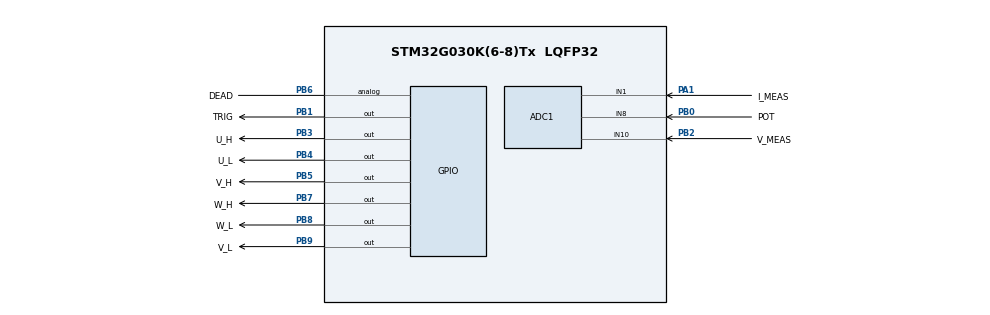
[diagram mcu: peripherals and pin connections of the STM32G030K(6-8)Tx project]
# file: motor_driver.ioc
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ADC1.ContinuousConvMode=DISABLE
ADC1.NbrOfConversion=1
ADC1.NbrOfConversionFlag=0
ADC1.SelectedChannel=ADC_CHANNEL_1|ADC_CHANNEL_8|ADC_CHANNEL_10
ADC1.Sequencer=NOT_FULLY_CONFIGURABLE
ADC1.master=1
Mcu.Family=STM32G0
Mcu.Name=STM32G030K(6-8)Tx
Mcu.Package=LQFP32
NVIC.TIM1_BRK_UP_TRG_COM_IRQn=true\:0\:0\:false\:false\:true\:true\:true\:true
PA1.GPIO_Label=I_MEAS
PA1.Mode=IN1
PA1.Signal=ADC1_IN1
PA13.Mode=Serial_Wire
PA13.Signal=SYS_SWDIO
PA14-BOOT0.Mode=Serial_Wire
PA14-BOOT0.Signal=SYS_SWCLK
PB0.GPIO_Label=POT
PB0.Mode=IN8
PB0.Signal=ADC1_IN8
PB1.GPIO_Label=TRIG
PB1.Signal=GPIO_Output
PB2.GPIO_Label=V_MEAS
PB2.Mode=IN10
PB2.Signal=ADC1_IN10
PB3.GPIO_Label=U_H
PB3.Signal=GPIO_Output
PB4.GPIO_Label=U_L
PB4.PinState=GPIO_PIN_SET
PB4.Signal=GPIO_Output
PB5.GPIO_Label=V_H
PB5.Signal=GPIO_Output
PB6.GPIO_Label=DEAD
PB6.Signal=GPIO_Analog
PB7.GPIO_Label=W_H
PB7.Signal=GPIO_Output
PB8.GPIO_FM8=__NULL
PB8.GPIO_Label=W_L
PB8.PinState=GPIO_PIN_SET
PB8.Signal=GPIO_Output
PB9.GPIO_Label=V_L
PB9.Signal=GPIO_Output
ProjectManager.HeapSize=0x200
ProjectManager.StackSize=0x400
ProjectManager.TargetToolchain=STM32CubeIDE
RCC.ADCFreq_Value=64000000
RCC.AHBFreq_Value=64000000
RCC.CortexFreq_Value=64000000
RCC.EXTERNAL_CLOCK_VALUE=12288000
RCC.HCLKFreq_Value=64000000
RCC.HSE_VALUE=8000000
RCC.HSI_VALUE=16000000
RCC.LSE_VALUE=32768
RCC.SYSCLKFreq_VALUE=64000000
RCC.SYSCLKSource=RCC_SYSCLKSOURCE_PLLCLK
RCC.VCOOutputFreq_Value=128000000
TIM1.AutoReloadPreload=TIM_AUTORELOAD_PRELOAD_ENABLE
TIM1.CounterMode=TIM_COUNTERMODE_DOWN
TIM1.Period=640
VP_TIM1_VS_ClockSourceINT.Mode=Internal
board=custom

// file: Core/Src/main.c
/* USER CODE BEGIN Header */
/**
  ******************************************************************************
  * @file           : main.c
  * @brief          : Main program body
  ******************************************************************************
  * @attention
  *
  * Copyright (c) 2023 STMicroelectronics.
  * All rights reserved.
  *
  * This software is licensed under terms that can be found in the LICENSE file
  * in the root directory of this software component.
  * If no LICENSE file comes with this software, it is provided AS-IS.
  *
  ******************************************************************************
  */
/* USER CODE END Header */
#include "main.h"

/* USER CODE BEGIN Includes */
#include "pwm_tables.h"
/* USER CODE END Includes */

/* USER CODE BEGIN PTD */

typedef struct ADC_meas_s{
	uint32_t current;
	uint32_t pot;
	uint32_t voltage;
} ADC_meas_t;

/* USER CODE END PTD */

/* USER CODE BEGIN PD */

//volatile uint8_t LED_STATE = 0;

const uint32_t CLK_FREQ = 64000000;
//const uint32_t MAX_I_SHTDWN = 1500; /* in mA */
const uint32_t MAX_I_SHTDWN = 3500; /* in mA */
const uint32_t F_MAX = 200; /* in Hz */
const uint32_t F_MIN = 2;
const int32_t DELTA_F_UP = 5; // units of 2^16/65507 (almost 1) Hz/s
const int32_t DELTA_F_DN = -10;
const uint32_t PERIOD_FULL = UINT32_MAX;
const uint32_t PERIOD_ONE_THIRD = PERIOD_FULL / 3;
const uint32_t PERIOD_TWO_THIRD = PERIOD_FULL / 3 * 2;

#define TIM_DIV 977
const uint32_t TIM_TRIG_FREQ = CLK_FREQ / TIM_DIV; // approx 65507 Hz, input 2^16 step for 1 Hz

const uint32_t U_NOM = 195; // HACK
const uint32_t F_NOM = 310;

// 191156419 = sqrt(2) (peak) * 4096 (ADC) * 3300 (R2) * 10 (VDD=34/10)
const uint32_t VF_MAGIC_NUMBER = 589303; //191156419 << 16 * U_NOM / (F_NOM * 34 * 393300);

/* USER CODE END PD */

/* USER CODE BEGIN PV */

ADC_meas_t adc_meas;

/* this is a NCO
 * word structure:
 * [31][30 - 20][19 - 0]
 *  │      │        └ remainder
 *  │      └ pointer to the element in LUT
 *  └ Sign determines if wave is currently in positive or negative half
 */
uint32_t phase_accumulator;

volatile uint32_t f_target; // in (2^-16) Hz
volatile uint32_t vf_coef;

uint8_t *p_current_table;
uint16_t current_gear;

uint32_t i_offset = 0;

uint32_t i_meas;

/* USER CODE END PV */

void SystemClock_Config(void);
static void MX_GPIO_Init(void);
static void MX_TIM1_Init(void);
static void MX_ADC1_Init(void);
/* USER CODE BEGIN PFP */

void switch_table(int8_t change);
void increment_accumulator(void);
void motor_disconnect(void);
uint32_t min(uint32_t x, uint32_t y);

/* USER CODE END PFP */

int main(void)
{

  /* MCU Configuration--------------------------------------------------------*/

  /* Reset of all peripherals, Initializes the Flash interface and the Systick. */
  LL_APB2_GRP1_EnableClock(LL_APB2_GRP1_PERIPH_SYSCFG);
  LL_APB1_GRP1_EnableClock(LL_APB1_GRP1_PERIPH_PWR);

  /* SysTick_IRQn interrupt configuration */
  NVIC_SetPriority(SysTick_IRQn, 3);

  /* Configure the system clock */
  SystemClock_Config();

  /* Initialize all configured peripherals */
  MX_GPIO_Init();
  MX_TIM1_Init();
  MX_ADC1_Init();
  /* USER CODE BEGIN 2 */

  LL_GPIO_WriteOutputPort(GPIOB, (1 << 8) | (1 << 6) | (1 << 4) );

  volatile uint32_t count = CLK_FREQ / 5;
  while(count--)
  {
	  __NOP();
  }

  /*read current*/
  LL_ADC_ClearFlag_CCRDY(ADC1);
  LL_ADC_ClearFlag_EOC(ADC1);
  ADC1->CHSELR = (1 << 1);
  while(LL_ADC_IsActiveFlag_CCRDY(ADC1) == 0);
  LL_ADC_ClearFlag_CCRDY(ADC1);
  LL_ADC_Enable(ADC1);
  while(LL_ADC_IsActiveFlag_ADRDY(ADC1) == 0);
  LL_ADC_ClearFlag_ADRDY(ADC1);
  LL_ADC_REG_StartConversion(ADC1);
  while(LL_ADC_IsActiveFlag_EOC(ADC1) == 0);
  LL_ADC_ClearFlag_EOC(ADC1);
  LL_ADC_Disable(ADC1);
  adc_meas.current = LL_ADC_REG_ReadConversionData12(ADC1);

  /*read voltage*/
  ADC1->CHSELR = (1 << 10);
  while(LL_ADC_IsActiveFlag_CCRDY(ADC1) == 0);
  LL_ADC_ClearFlag_CCRDY(ADC1);
  LL_ADC_Enable(ADC1);
  while(LL_ADC_IsActiveFlag_ADRDY(ADC1) == 0);
  LL_ADC_ClearFlag_ADRDY(ADC1);
  LL_ADC_REG_StartConversion(ADC1);
  while(LL_ADC_IsActiveFlag_EOC(ADC1) == 0);
  LL_ADC_ClearFlag_EOC(ADC1);
  LL_ADC_Disable(ADC1);
  adc_meas.voltage = LL_ADC_REG_ReadConversionData12(ADC1);

  LL_TIM_EnableIT_UPDATE(TIM1);
  LL_TIM_EnableCounter(TIM1);

  /* USER CODE END 2 */

  /* Infinite loop */
  /* USER CODE BEGIN WHILE */
  while (1)
  {
		/* convert ADC values
		 *
		 * V_meas = ( Vref * ADC_data / ADC_resolution) * ( (R2 + R1) / R2 )
		 * I_meas = Uref * ADC_data / ( ADC_resolution * R_shunt * A_opamp)
		 */

		/*read current*/
		ADC1->CHSELR = (1 << 1);
		while(LL_ADC_IsActiveFlag_CCRDY(ADC1) == 0);
		LL_ADC_ClearFlag_CCRDY(ADC1);
		LL_ADC_Enable(ADC1);
		while(LL_ADC_IsActiveFlag_ADRDY(ADC1) == 0);
		LL_ADC_ClearFlag_ADRDY(ADC1);
		LL_ADC_REG_StartConversion(ADC1);
		while(LL_ADC_IsActiveFlag_EOC(ADC1) == 0);
		LL_ADC_ClearFlag_EOC(ADC1);
		LL_ADC_Disable(ADC1);
		adc_meas.current = LL_ADC_REG_ReadConversionData12(ADC1);

		i_meas = ((3300 / 22 * 20) * adc_meas.current) / (1<<12); /* in mA */
		/*check if current is too high */
		if(i_meas > MAX_I_SHTDWN)
		{
			Error_Handler();
		}

		/*read pot*/
		ADC1->CHSELR = (1 << 8);
		while(LL_ADC_IsActiveFlag_CCRDY(ADC1) == 0);
		LL_ADC_ClearFlag_CCRDY(ADC1);
		LL_ADC_Enable(ADC1);
		while(LL_ADC_IsActiveFlag_ADRDY(ADC1) == 0);
		LL_ADC_ClearFlag_ADRDY(ADC1);
		LL_ADC_REG_StartConversion(ADC1);
		while(LL_ADC_IsActiveFlag_EOC(ADC1) == 0);
		LL_ADC_ClearFlag_EOC(ADC1);
		LL_ADC_Disable(ADC1);
		adc_meas.pot = LL_ADC_REG_ReadConversionData12(ADC1);

		/* calculate target frequency */
		f_target = adc_meas.pot * F_MAX * (1 << 4); // adc goes to 12 bits, 1 Hz is 16 bits
		if(f_target < (F_MIN * (1 << 16))) {
			f_target = F_MIN * (1 << 16);
		}

		/*read voltage*/
		ADC1->CHSELR = (1 << 10);
		while(LL_ADC_IsActiveFlag_CCRDY(ADC1) == 0);
		LL_ADC_ClearFlag_CCRDY(ADC1);
		LL_ADC_Enable(ADC1);
		while(LL_ADC_IsActiveFlag_ADRDY(ADC1) == 0);
		LL_ADC_ClearFlag_ADRDY(ADC1);
		LL_ADC_REG_StartConversion(ADC1);
		while(LL_ADC_IsActiveFlag_EOC(ADC1) == 0);
		LL_ADC_ClearFlag_EOC(ADC1);
		LL_ADC_Disable(ADC1);
		adc_meas.voltage = LL_ADC_REG_ReadConversionData12(ADC1);

		// calculate the V/f coefficient so the ISR can determine the voltage
//		vf_coef = VF_MAGIC_NUMBER / adc_meas.voltage; // TODO
//		vf_coef = 179; // multiplied by 256
		vf_coef = 728; // for 30 V DC bus

//		v_meas = 3300 * adc_meas.voltage * (39120 + 336) / 336 / (1<<12); /* in mV */
		/* USER CODE END WHILE */

  }
}

void SystemClock_Config(void)
{
  LL_FLASH_SetLatency(LL_FLASH_LATENCY_2);
  while(LL_FLASH_GetLatency() != LL_FLASH_LATENCY_2)
  {
  }

  /* HSI configuration and activation */
  LL_RCC_HSI_Enable();
  while(LL_RCC_HSI_IsReady() != 1)
  {
  }

  /* Main PLL configuration and activation */
  LL_RCC_PLL_ConfigDomain_SYS(LL_RCC_PLLSOURCE_HSI, LL_RCC_PLLM_DIV_1, 8, LL_RCC_PLLR_DIV_2);
  LL_RCC_PLL_Enable();
  LL_RCC_PLL_EnableDomain_SYS();
  while(LL_RCC_PLL_IsReady() != 1)
  {
  }

  /* Set AHB prescaler*/
  LL_RCC_SetAHBPrescaler(LL_RCC_SYSCLK_DIV_1);

  /* Sysclk activation on the main PLL */
  LL_RCC_SetSysClkSource(LL_RCC_SYS_CLKSOURCE_PLL);
  while(LL_RCC_GetSysClkSource() != LL_RCC_SYS_CLKSOURCE_STATUS_PLL)
  {
  }

  /* Set APB1 prescaler*/
  LL_RCC_SetAPB1Prescaler(LL_RCC_APB1_DIV_1);

  LL_Init1msTick(64000000);

  /* Update CMSIS variable (which can be updated also through SystemCoreClockUpdate function) */
  LL_SetSystemCoreClock(64000000);
}

static void MX_ADC1_Init(void)
{

  LL_ADC_InitTypeDef ADC_InitStruct = {0};
  LL_ADC_REG_InitTypeDef ADC_REG_InitStruct = {0};

  LL_GPIO_InitTypeDef GPIO_InitStruct = {0};

  /* Peripheral clock enable */
  LL_APB2_GRP1_EnableClock(LL_APB2_GRP1_PERIPH_ADC);

  LL_IOP_GRP1_EnableClock(LL_IOP_GRP1_PERIPH_GPIOA);
  LL_IOP_GRP1_EnableClock(LL_IOP_GRP1_PERIPH_GPIOB);
  /**ADC1 GPIO Configuration
  PA1   ------> ADC1_IN1
  PB0   ------> ADC1_IN8
  PB2   ------> ADC1_IN10
  */
  GPIO_InitStruct.Pin = I_MEAS_Pin;
  GPIO_InitStruct.Mode = LL_GPIO_MODE_ANALOG;
  GPIO_InitStruct.Pull = LL_GPIO_PULL_NO;
  LL_GPIO_Init(I_MEAS_GPIO_Port, &GPIO_InitStruct);

  GPIO_InitStruct.Pin = POT_Pin;
  GPIO_InitStruct.Mode = LL_GPIO_MODE_ANALOG;
  GPIO_InitStruct.Pull = LL_GPIO_PULL_NO;
  LL_GPIO_Init(POT_GPIO_Port, &GPIO_InitStruct);

  GPIO_InitStruct.Pin = V_MEAS_Pin;
  GPIO_InitStruct.Mode = LL_GPIO_MODE_ANALOG;
  GPIO_InitStruct.Pull = LL_GPIO_PULL_NO;
  LL_GPIO_Init(V_MEAS_GPIO_Port, &GPIO_InitStruct);

  /** Configure the global features of the ADC (Clock, Resolution, Data Alignment and number of conversion)
  */

   #define ADC_CHANNEL_CONF_RDY_TIMEOUT_MS ( 1U)
   #if (USE_TIMEOUT == 1)
   uint32_t Timeout ; /* Variable used for Timeout management */
   #endif /* USE_TIMEOUT */

  ADC_InitStruct.Clock = LL_ADC_CLOCK_SYNC_PCLK_DIV2;
  ADC_InitStruct.Resolution = LL_ADC_RESOLUTION_12B;
  ADC_InitStruct.DataAlignment = LL_ADC_DATA_ALIGN_RIGHT;
  ADC_InitStruct.LowPowerMode = LL_ADC_LP_MODE_NONE;
  LL_ADC_Init(ADC1, &ADC_InitStruct);
  LL_ADC_REG_SetSequencerConfigurable(ADC1, LL_ADC_REG_SEQ_FIXED);
  ADC_REG_InitStruct.TriggerSource = LL_ADC_REG_TRIG_SOFTWARE;
  ADC_REG_InitStruct.SequencerLength = LL_ADC_REG_SEQ_SCAN_DISABLE;
  ADC_REG_InitStruct.SequencerDiscont = LL_ADC_REG_SEQ_DISCONT_DISABLE;
  ADC_REG_InitStruct.ContinuousMode = LL_ADC_REG_CONV_SINGLE;
  ADC_REG_InitStruct.DMATransfer = LL_ADC_REG_DMA_TRANSFER_NONE;
  ADC_REG_InitStruct.Overrun = LL_ADC_REG_OVR_DATA_PRESERVED;
  LL_ADC_REG_Init(ADC1, &ADC_REG_InitStruct);
  LL_ADC_REG_SetSequencerScanDirection(ADC1, LL_ADC_REG_SEQ_SCAN_DIR_FORWARD);
  LL_ADC_SetOverSamplingScope(ADC1, LL_ADC_OVS_DISABLE);
  LL_ADC_SetTriggerFrequencyMode(ADC1, LL_ADC_CLOCK_FREQ_MODE_HIGH);
  LL_ADC_REG_SetSequencerChAdd(ADC1, LL_ADC_CHANNEL_1|LL_ADC_CHANNEL_8
                              |LL_ADC_CHANNEL_10);

   /* Poll for ADC channel configuration ready */
   #if (USE_TIMEOUT == 1)
   Timeout = ADC_CHANNEL_CONF_RDY_TIMEOUT_MS;
   #endif /* USE_TIMEOUT */
   while (LL_ADC_IsActiveFlag_CCRDY(ADC1) == 0)
     {
   #if (USE_TIMEOUT == 1)
   /* Check Systick counter flag to decrement the time-out value */
   if (LL_SYSTICK_IsActiveCounterFlag())
     {
   if(Timeout-- == 0)
         {
   Error_Handler();
         }
     }
   #endif /* USE_TIMEOUT */
     }
   /* Clear flag ADC channel configuration ready */
   LL_ADC_ClearFlag_CCRDY(ADC1);
  LL_ADC_SetSamplingTimeCommonChannels(ADC1, LL_ADC_SAMPLINGTIME_COMMON_1, LL_ADC_SAMPLINGTIME_1CYCLE_5);
  LL_ADC_DisableIT_EOC(ADC1);
  LL_ADC_DisableIT_EOS(ADC1);

   /* Enable ADC internal voltage regulator */
   LL_ADC_EnableInternalRegulator(ADC1);
   /* Delay for ADC internal voltage regulator stabilization. */
   /* Compute number of CPU cycles to wait for, from delay in us. */
   /* Note: Variable divided by 2 to compensate partially */
   /* CPU processing cycles (depends on compilation optimization). */
   /* Note: If system core clock frequency is below 200kHz, wait time */
   /* is only a few CPU processing cycles. */
   uint32_t wait_loop_index;
   wait_loop_index = ((LL_ADC_DELAY_INTERNAL_REGUL_STAB_US * (SystemCoreClock / (100000 * 2))) / 10);
   while(wait_loop_index != 0)
     {
   wait_loop_index--;
     }
  /* USER CODE BEGIN ADC1_Init 2 */
  LL_ADC_StartCalibration(ADC1);
  while(LL_ADC_IsCalibrationOnGoing(ADC1))
  {
	  /* wait */
  }

  /* USER CODE END ADC1_Init 2 */

}

static void MX_TIM1_Init(void)
{

  LL_TIM_InitTypeDef TIM_InitStruct = {0};

  /* Peripheral clock enable */
  LL_APB2_GRP1_EnableClock(LL_APB2_GRP1_PERIPH_TIM1);

  /* TIM1 interrupt Init */
  NVIC_SetPriority(TIM1_BRK_UP_TRG_COM_IRQn, 0);
  NVIC_EnableIRQ(TIM1_BRK_UP_TRG_COM_IRQn);

  TIM_InitStruct.Prescaler = 0;
  TIM_InitStruct.CounterMode = LL_TIM_COUNTERMODE_DOWN;
  TIM_InitStruct.Autoreload = TIM_DIV;
  TIM_InitStruct.ClockDivision = LL_TIM_CLOCKDIVISION_DIV1;
  TIM_InitStruct.RepetitionCounter = 0;
  LL_TIM_Init(TIM1, &TIM_InitStruct);
  LL_TIM_EnableARRPreload(TIM1);
  LL_TIM_SetClockSource(TIM1, LL_TIM_CLOCKSOURCE_INTERNAL);
  LL_TIM_SetTriggerOutput(TIM1, LL_TIM_TRGO_RESET);
  LL_TIM_SetTriggerOutput2(TIM1, LL_TIM_TRGO2_RESET);
  LL_TIM_DisableMasterSlaveMode(TIM1);
  /* USER CODE BEGIN TIM1_Init 2 */
  TIM1->ARR = TIM_DIV;
  /* USER CODE END TIM1_Init 2 */

}

static void MX_GPIO_Init(void)
{
  LL_GPIO_InitTypeDef GPIO_InitStruct = {0};

  /* GPIO Ports Clock Enable */
  LL_IOP_GRP1_EnableClock(LL_IOP_GRP1_PERIPH_GPIOB);
  LL_IOP_GRP1_EnableClock(LL_IOP_GRP1_PERIPH_GPIOA);

  /**/
  LL_GPIO_ResetOutputPin(V_L_GPIO_Port, V_L_Pin);

  /**/
  LL_GPIO_ResetOutputPin(TRIG_GPIO_Port, TRIG_Pin);

  /**/
  LL_GPIO_ResetOutputPin(U_H_GPIO_Port, U_H_Pin);

  /**/
  LL_GPIO_ResetOutputPin(V_H_GPIO_Port, V_H_Pin);

  /**/
  LL_GPIO_ResetOutputPin(W_H_GPIO_Port, W_H_Pin);

  /**/
  LL_GPIO_SetOutputPin(U_L_GPIO_Port, U_L_Pin);

  /**/
  LL_GPIO_SetOutputPin(W_L_GPIO_Port, W_L_Pin);

  /**/
  GPIO_InitStruct.Pin = V_L_Pin;
  GPIO_InitStruct.Mode = LL_GPIO_MODE_OUTPUT;
  GPIO_InitStruct.Speed = LL_GPIO_SPEED_FREQ_LOW;
  GPIO_InitStruct.OutputType = LL_GPIO_OUTPUT_PUSHPULL;
  GPIO_InitStruct.Pull = LL_GPIO_PULL_NO;
  LL_GPIO_Init(V_L_GPIO_Port, &GPIO_InitStruct);

  /**/
  GPIO_InitStruct.Pin = TRIG_Pin;
  GPIO_InitStruct.Mode = LL_GPIO_MODE_OUTPUT;
  GPIO_InitStruct.Speed = LL_GPIO_SPEED_FREQ_LOW;
  GPIO_InitStruct.OutputType = LL_GPIO_OUTPUT_PUSHPULL;
  GPIO_InitStruct.Pull = LL_GPIO_PULL_NO;
  LL_GPIO_Init(TRIG_GPIO_Port, &GPIO_InitStruct);

  /**/
  GPIO_InitStruct.Pin = U_H_Pin;
  GPIO_InitStruct.Mode = LL_GPIO_MODE_OUTPUT;
  GPIO_InitStruct.Speed = LL_GPIO_SPEED_FREQ_LOW;
  GPIO_InitStruct.OutputType = LL_GPIO_OUTPUT_PUSHPULL;
  GPIO_InitStruct.Pull = LL_GPIO_PULL_NO;
  LL_GPIO_Init(U_H_GPIO_Port, &GPIO_InitStruct);

  /**/
  GPIO_InitStruct.Pin = U_L_Pin;
  GPIO_InitStruct.Mode = LL_GPIO_MODE_OUTPUT;
  GPIO_InitStruct.Speed = LL_GPIO_SPEED_FREQ_LOW;
  GPIO_InitStruct.OutputType = LL_GPIO_OUTPUT_PUSHPULL;
  GPIO_InitStruct.Pull = LL_GPIO_PULL_NO;
  LL_GPIO_Init(U_L_GPIO_Port, &GPIO_InitStruct);

  /**/
  GPIO_InitStruct.Pin = V_H_Pin;
  GPIO_InitStruct.Mode = LL_GPIO_MODE_OUTPUT;
  GPIO_InitStruct.Speed = LL_GPIO_SPEED_FREQ_LOW;
  GPIO_InitStruct.OutputType = LL_GPIO_OUTPUT_PUSHPULL;
  GPIO_InitStruct.Pull = LL_GPIO_PULL_NO;
  LL_GPIO_Init(V_H_GPIO_Port, &GPIO_InitStruct);

  /**/
  GPIO_InitStruct.Pin = W_H_Pin;
  GPIO_InitStruct.Mode = LL_GPIO_MODE_OUTPUT;
  GPIO_InitStruct.Speed = LL_GPIO_SPEED_FREQ_LOW;
  GPIO_InitStruct.OutputType = LL_GPIO_OUTPUT_PUSHPULL;
  GPIO_InitStruct.Pull = LL_GPIO_PULL_NO;
  LL_GPIO_Init(W_H_GPIO_Port, &GPIO_InitStruct);

  /**/
  GPIO_InitStruct.Pin = W_L_Pin;
  GPIO_InitStruct.Mode = LL_GPIO_MODE_OUTPUT;
  GPIO_InitStruct.Speed = LL_GPIO_SPEED_FREQ_LOW;
  GPIO_InitStruct.OutputType = LL_GPIO_OUTPUT_PUSHPULL;
  GPIO_InitStruct.Pull = LL_GPIO_PULL_NO;
  LL_GPIO_Init(W_L_GPIO_Port, &GPIO_InitStruct);

}

/* USER CODE BEGIN 4 */

void switch_table(int8_t change)
{
	/* check for border cases outside this function */
	current_gear += change;
	p_current_table = pwm_table_ptrs[current_gear];
}

void increment_accumulator(void)
{
	static uint32_t f_current;
//	LL_GPIO_SetOutputPin(GPIOB, (1<<1));

	/* calculate new frequency */
	/* is frequency increasing or decreasing? */
	const int32_t f_diff = f_target - f_current;

	if(f_diff > DELTA_F_UP)
	{
		f_current += DELTA_F_UP;
	}
	else if (f_diff < DELTA_F_DN)
	{
		f_current += DELTA_F_DN;
	}
	else
	{
		f_current += f_diff;
	}

	/* check if gear switch is needed */
	if( (current_gear != (NUM_OF_TABLES-1)) && (f_current > pwm_max_freq[current_gear]) )
	{
		switch_table(1);
	}
	else if( (current_gear != 0) && (f_current < pwm_max_freq[current_gear-1]) )
	{
		switch_table(-1);
	}

	/* increment phase accumulator */
	phase_accumulator += f_current;

	// determine modulation index
//	uint32_t threshold = (vf_coef * f_current) >> 24; // 16b from freq, 8b from vf_coef
//	if (threshold < 2) {
//		// TODO: base boost?
//		threshold = 2; // TODO: calculate this?, change for full voltage
//	} else if (threshold > 255) {
//		threshold = 255;
//	}
	uint32_t threshold = 250;
	if (f_current < 36 * (1ULL << 16)) {
		threshold = 200;
	} else if (f_current < 18 * (1ULL << 16)) {
		threshold = 100;
	} else if (f_current < 12 * (1ULL << 16)) {
		threshold = 30;
	} else if (f_current < 8 * (1ULL << 16)) {
		threshold = 15;
	} else if (f_current < 4 * (1ULL << 16)) {
		threshold = 5;
	}

	/* extract pointer and set new output values */
	uint32_t gpio_reg_write = 0;

	/* set phase U pins */
	uint32_t sign_and_index = phase_accumulator >> 20;
	if((p_current_table[(sign_and_index & 0x7FF)] < threshold) ^ ((sign_and_index >> 11) & 0x1) )
	{
		gpio_reg_write = U_H_Pin;
	}
	else
	{
		gpio_reg_write = U_L_Pin;
	}

	/* set phase V pins */
	sign_and_index = (phase_accumulator+PERIOD_ONE_THIRD) >> 20;

	if((p_current_table[(sign_and_index & 0x7FF)] < threshold) ^ ((sign_and_index >> 11) & 0x1) )
	{
		gpio_reg_write |= V_H_Pin;
	}
	else
	{
		gpio_reg_write |= V_L_Pin;
	}

	/* set phase W pins */
	sign_and_index = (phase_accumulator+PERIOD_TWO_THIRD) >> 20;
	if((p_current_table[(sign_and_index & 0x7FF)] < threshold) ^ ((sign_and_index >> 11) & 0x1) )
	{
		gpio_reg_write |= W_H_Pin;
	}
	else
	{
		gpio_reg_write |= W_L_Pin;
	}

	gpio_reg_write |= ((sign_and_index >> 11) & 1) << 1; // scope trigger
	LL_GPIO_WriteOutputPort(GPIOB, gpio_reg_write);
}

void motor_disconnect(void)
{
	/* connect all phases to GND */
	LL_GPIO_WriteOutputPort(GPIOB, (1 << 8) | (1 << 6) | (1 << 4) );
	while(1);

}
/* USER CODE END 4 */

void Error_Handler(void)
{
  /* USER CODE BEGIN Error_Handler_Debug */
  /* User can add his own implementation to report the HAL error return state */
  __disable_irq();
  motor_disconnect();
  while (1)
  {
  }
  /* USER CODE END Error_Handler_Debug */
}
